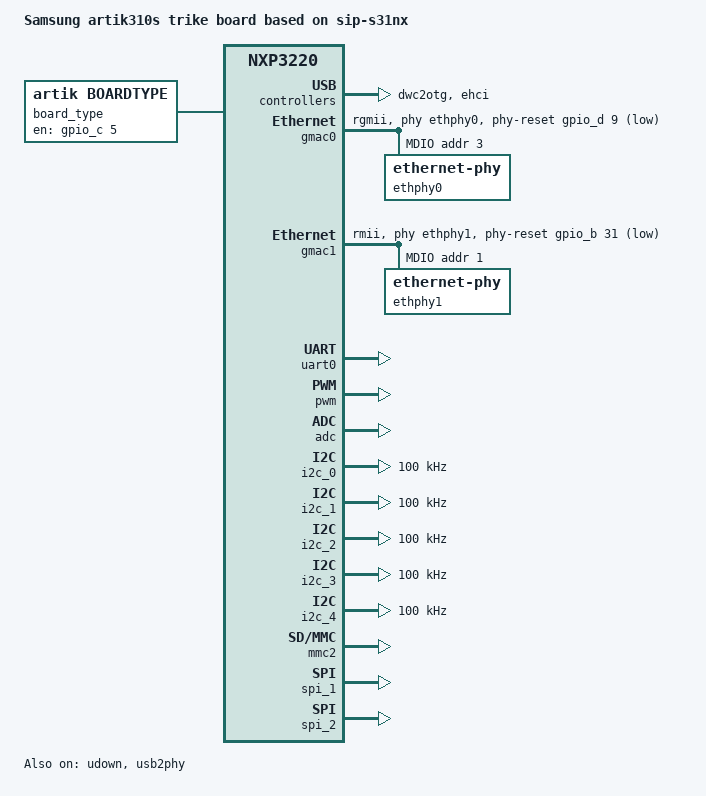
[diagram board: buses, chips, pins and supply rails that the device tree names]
/*
* (C) Copyright 2018 Nexell
 * JungHyun, Kim <jhkim@nexell.co.kr>
 *
 * SPDX-License-Identifier:      GPL-2.0+
 */

/dts-v1/;

#include "sip-s31nx-artik310s.dtsi"
#include <dt-bindings/gpio/gpio.h>
/ {
	model = "Samsung artik310s trike board based on sip-s31nx";
	compatible = "samsung,artik310s-trike", "samsung,artik310s",
		"nexell,nxp3220";

	aliases {
		serial0 = &uart0;
		mmc0	= &mmc0;
		mmc1	= &mmc1;
		mmc2	= &mmc2;
		i2c0	= &i2c_0;
		i2c1	= &i2c_1;
		i2c2	= &i2c_2;
		i2c3	= &i2c_3;
		i2c4	= &i2c_4;
		spi1	= &spi_1;
		spi2	= &spi_2;
	};

	chosen {
		stdout-path = "serial0:115200n8";
	};

	board_type: board-type {
		compatible = "artik,boardtype";
		en-gpio = <&gpio_c 5 0>;
		adc = <&adc 2>;
	};
};

&clock_sys {
	clk-init-frequency = <UART_0_CORE_CLK 100000000 1>,
			     <UART_0_APB_CLK 100000000 1>,
			     <PWM_0_APB_CLK 100000000 1>,
			     <PWM_0_TCLK0_CLK 100000000 1>,
			     <PWM_0_TCLK1_CLK 100000000 1>,
			     <PWM_0_TCLK2_CLK 100000000 1>,
			     <PWM_0_TCLK3_CLK 100000000 1>,
			     <I2C_0_APB_CLK 100000000 1>,
			     <I2C_1_APB_CLK 100000000 1>,
			     <I2C_2_APB_CLK 100000000 1>,
			     <I2C_3_APB_CLK 100000000 1>,
			     <I2C_4_APB_CLK 100000000 1>,
			     <SPI_0_APB_CLK 100000000 1>,
			     <SPI_1_APB_CLK 100000000 1>,
			     <SPI_2_APB_CLK 100000000 1>,
			     <GMAC_RGMII_0_AXI_CLK 250000000 1>,
			     <GMAC_RGMII_0_APB_CLK 125000000 1>,
			     <GMAC_RGMII_0_TX_CLK_CLK 125000000 1>,
			     <GMAC_RGMII_0_PTP_REF_CLK 25000000 1>,
			     <GMAC_RMII_0_AXI_CLK 250000000 1>,
			     <GMAC_RMII_0_APB_CLK 125000000 1>,
			     <GMAC_RMII_0_PTP_REF_CLK 25000000 1>;
};

&clock_pll {
	frequency = <0 1000000000>,
		    <1 400000000>;
};

&clock_usb {
	clk-init-frequency = <USB_0_AHB_CLK 250000000 1>;
};

&dwc2otg {
	status = "okay";
};

&ehci {
	status = "okay";
};

&gmac0 {
	phy-mode = "rgmii";
	phy-handle = <&ethphy0>;
	status = "okay";

	phy-reset-gpios = <&gpio_d 9 GPIO_ACTIVE_LOW>;

	mdio@3 {
		#address-cells = <1>;
		#size-cells = <0>;

		ethphy0: ethernet-phy@3 {
			reg = <3>;
		};
	};
};

&gmac1 {
	phy-mode = "rmii";
	phy-handle = <&ethphy1>;
	status = "okay";

	phy-reset-gpios = <&gpio_b 31 GPIO_ACTIVE_LOW>;

	mdio@1 {
		#address-cells = <1>;
		#size-cells = <0>;

		ethphy1: ethernet-phy@1 {
			reg = <1>;
		};
	};
};

&uart0 {
	clock-frequency = <100000000>;
	status = "okay";
};

&pwm {
	status = "okay";
};

&adc {
	status = "okay";
};

&i2c_0 {
	clock-frequency = <100000>;
	status = "okay";
};

&i2c_1 {
	clock-frequency = <100000>;
	status = "okay";
};

&i2c_2 {
	clock-frequency = <100000>;
	status = "okay";
};

&i2c_3 {
	clock-frequency = <100000>;
	status = "okay";
};

&i2c_4 {
	clock-frequency = <100000>;
	status = "okay";
};

&mmc2 {
	nexell,sample_shift = <0x00>;
	nexell,drive_shift = <0x01>;
	frequency = <50000000>;
	status = "okay";
};

&mmc2_clk {
	nexell,pin-strength = <NX_PIN_STR1>;
};

&spi_1 {
	num-cs = <1>;
	cs-gpio = <&gpio_a 9 0>;
	status = "okay";
};

&spi_2 {
	num-cs = <1>;
	cs-gpio = <&gpio_a 13 0>;
	status = "okay";
};

&udown {
	status = "okay";
};

&usb2phy {
	status = "okay";
	ehci,vbus-gpio = <&gpio_b 23 0>;
};
